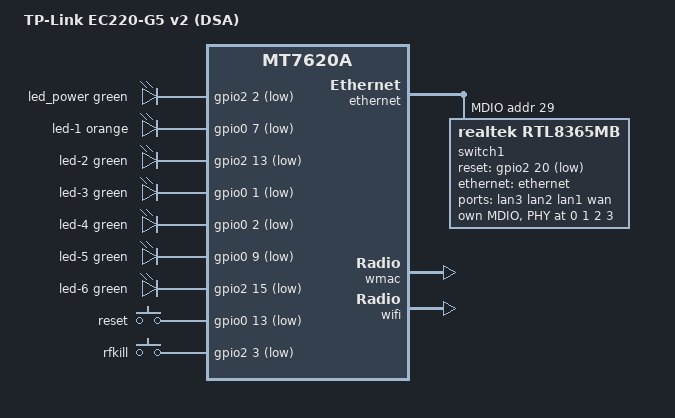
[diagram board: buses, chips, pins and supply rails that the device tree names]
// SPDX-License-Identifier: GPL-2.0-or-later OR MIT

#include <dt-bindings/leds/common.h>
#include <dt-bindings/interrupt-controller/irq.h>

#include "mt7620a_tplink_8m.dtsi"

/ {
	compatible = "tplink,ec220-g5-v2-dsa", "ralink,mt7620a-soc";
	model = "TP-Link EC220-G5 v2 (DSA)";

	aliases {
		led-boot = &led_power;
		led-failsafe = &led_power;
		led-running = &led_power;
		led-upgrade = &led_power;
		label-mac-device = &ethernet;
	};

	leds {
		compatible = "gpio-leds";

		led_power: led-0 {
			function = LED_FUNCTION_POWER;
			color = <LED_COLOR_ID_GREEN>;
			gpios = <&gpio2 2 GPIO_ACTIVE_LOW>;
		};

		led-1 {
			function = LED_FUNCTION_WAN;
			color = <LED_COLOR_ID_ORANGE>;
			gpios = <&gpio0 7 GPIO_ACTIVE_LOW>;
		};

		led-2 {
			function = LED_FUNCTION_WAN;
			color = <LED_COLOR_ID_GREEN>;
			gpios = <&gpio2 13 GPIO_ACTIVE_LOW>;
		};

		led-3 {
			function = LED_FUNCTION_LAN;
			color = <LED_COLOR_ID_GREEN>;
			gpios = <&gpio0 1 GPIO_ACTIVE_LOW>;
		};

		led-4 {
			function = LED_FUNCTION_WLAN_2GHZ;
			color = <LED_COLOR_ID_GREEN>;
			gpios = <&gpio0 2 GPIO_ACTIVE_LOW>;
			linux,default-trigger = "phy1tpt";
		};

		led-5 {
			function = LED_FUNCTION_WLAN_5GHZ;
			color = <LED_COLOR_ID_GREEN>;
			gpios = <&gpio0 9 GPIO_ACTIVE_LOW>;
			linux,default-trigger = "phy0tpt";
		};

		led-6 {
			function = LED_FUNCTION_WPS;
			color = <LED_COLOR_ID_GREEN>;
			gpios = <&gpio2 15 GPIO_ACTIVE_LOW>;
		};
	};

	keys {
		compatible = "gpio-keys";

		reset {
			label = "reset";
			gpios = <&gpio0 13 GPIO_ACTIVE_LOW>;
			linux,code = <KEY_RESTART>;
		};

		rfkill {
			label = "rfkill";
			gpios = <&gpio2 3 GPIO_ACTIVE_LOW>;
			linux,code = <KEY_RFKILL>;
		};
	};
};

&gpio0 {
	interrupt-controller;
	#interrupt-cells = <2>;
};

&state_default {
	gpio {
		groups = "i2c", "uartf", "ephy", "rgmii2";
		function = "gpio";
	};
};

&ethernet {
	pinctrl-names = "default";
	pinctrl-0 = <&rgmii1_pins &mdio_pins>;

	/* Internal switch is used as transparent switch connecting
	   its port6 (CPU) to external switch through port5 */
	/delete-property/ mediatek,portmap;

	/* Currrent realtek DSA driver forces forwarding on CPU */
	mediatek,mac-learn-disable;

	port@5 {
		status = "okay";
		mediatek,fixed-link = <1000 1 1 1>;
		phy-mode = "rgmii";
	};

	mdio0: mdio-bus {
		status = "okay";
	};
};

&mdio0 {
	switch1@29 {

		compatible = "realtek,rtl8365mb";
		reg = <29>;

		reset-gpios = <&gpio2 20 GPIO_ACTIVE_LOW>;

		switch_intc: interrupt-controller {
			interrupt-parent = <&gpio0>;
			interrupts = <11 IRQ_TYPE_EDGE_FALLING>;
			interrupt-controller;
			#address-cells = <0>;
			#interrupt-cells = <1>;
		};

		mdio {
			#address-cells = <1>;
			#size-cells = <0>;

			phy0: ethernet-phy@0 {
				reg = <0>;
				interrupt-parent = <&switch_intc>;
				interrupts = <0>;
			};
			phy1: ethernet-phy@1 {
				reg = <1>;
				interrupt-parent = <&switch_intc>;
				interrupts = <1>;
			};
			phy2: ethernet-phy@2 {
				reg = <2>;
				interrupt-parent = <&switch_intc>;
				interrupts = <2>;
			};
			phy3: ethernet-phy@3 {
				reg = <3>;
				interrupt-parent = <&switch_intc>;
				interrupts = <3>;
			};
		};

		ports {
			#address-cells = <1>;
			#size-cells = <0>;
			reg = <0>;

			port@0 {
				reg = <0>;
				label = "lan3";
				phy-handle = <&phy0>;
			};

			port@1 {
				reg = <1>;
				label = "lan2";
				phy-handle = <&phy1>;
			};

			port@2 {
				reg = <2>;
				label = "lan1";
				phy-handle = <&phy2>;
			};

			port@3 {
				reg = <3>;
				label = "wan";
				phy-handle = <&phy3>;

				nvmem-cells = <&macaddr_rom_f100 1>;
				nvmem-cell-names = "mac-address";
			};

			port@7 {
				reg = <7>;
				ethernet = <&ethernet>;
				phy-mode = "rgmii";
				tx-internal-delay-ps = <2000>;
				rx-internal-delay-ps = <0>;

				dsa-tag-protocol = "rtl8_4";

				fixed-link {
					speed = <1000>;
					full-duplex;
				};
			};
		};
	};
};

&ehci {
	status = "disabled";
};

&ohci {
	status = "disabled";
};

&wmac {
	pinctrl-names = "default", "pa_gpio";
	pinctrl-0 = <&pa_pins>;
	pinctrl-1 = <&pa_gpio_pins>;

	nvmem-cells = <&eeprom_radio_0>, <&macaddr_rom_f100 0>;
	nvmem-cell-names = "eeprom", "mac-address";
};


&wifi {
	nvmem-cells = <&eeprom_radio_8000>, <&macaddr_rom_f100 2>;
	nvmem-cell-names = "eeprom", "mac-address";
};
